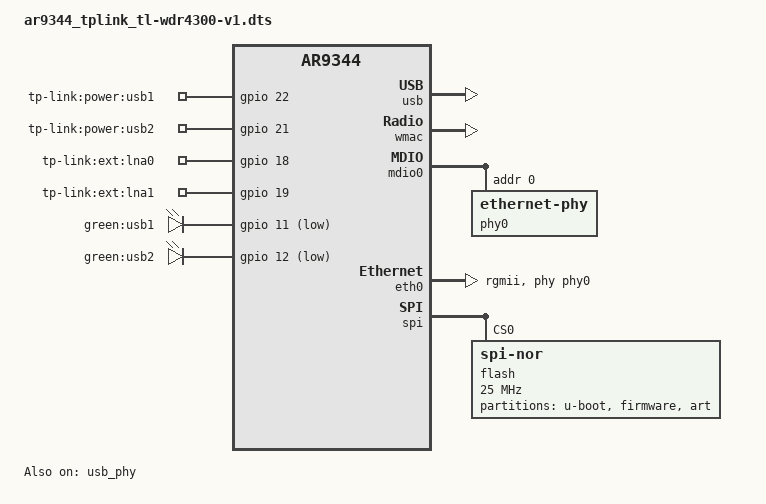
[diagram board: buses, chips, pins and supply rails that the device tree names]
// SPDX-License-Identifier: GPL-2.0-or-later OR MIT

#include "ar9344_tplink_tl-wdrxxxx.dtsi"

/ {
	aliases {
		label-mac-device = &ath9k;
	};

	gpio-export {
		compatible = "gpio-export";

		gpio_usb1_power {
			gpio-export,name = "tp-link:power:usb1";
			gpio-export,output = <1>;
			gpios = <&gpio 22 GPIO_ACTIVE_HIGH>;
		};

		gpio_usb2_power {
			gpio-export,name = "tp-link:power:usb2";
			gpio-export,output = <1>;
			gpios = <&gpio 21 GPIO_ACTIVE_HIGH>;
		};

		gpio_ext_lna0 {
			gpio-export,name = "tp-link:ext:lna0";
			gpio-export,output = <1>;
			gpios = <&gpio 18 GPIO_ACTIVE_HIGH>;
		};

		gpio_ext_lna1 {
			gpio-export,name = "tp-link:ext:lna1";
			gpio-export,output = <1>;
			gpios = <&gpio 19 GPIO_ACTIVE_HIGH>;
		};
	};
};

&leds {
	usb1 {
		label = "green:usb1";
		gpios = <&gpio 11 GPIO_ACTIVE_LOW>;
		trigger-sources = <&hub_port1>;
		linux,default-trigger = "usbport";
	};

	usb2 {
		label = "green:usb2";
		gpios = <&gpio 12 GPIO_ACTIVE_LOW>;
		trigger-sources = <&hub_port2>;
		linux,default-trigger = "usbport";
	};
};

&usb {
	#address-cells = <1>;
	#size-cells = <0>;
	status = "okay";

	port@1 {
		#address-cells = <1>;
		#size-cells = <0>;
		reg = <1>;
		#trigger-source-cells = <0>;

		hub_port1: port@1 {
			reg = <1>;
			#trigger-source-cells = <0>;
		};

		hub_port2: port@2 {
			reg = <2>;
			#trigger-source-cells = <0>;
		};
	};
};

&usb_phy {
	status = "okay";
};

&ath9k {
	nvmem-cells = <&macaddr_uboot_1fc00>;
	nvmem-cell-names = "mac-address";
};

&wmac {
	nvmem-cells = <&macaddr_uboot_1fc00>;
	nvmem-cell-names = "mac-address";
	mac-address-increment = <(-1)>;
};

&mdio0 {
	status = "okay";

	phy-mask = <0>;

	phy0: ethernet-phy@0 {
		reg = <0>;
		phy-mode = "rgmii";

		qca,ar8327-initvals = <
			0x04 0x07600000 /* PORT0 PAD MODE CTRL */
			0x10 0x80000080 /* POWER_ON_STRAP */
			0x50 0xc737c737 /* LED_CTRL0 */
			0x54 0x00000000 /* LED_CTRL1 */
			0x58 0x00000000 /* LED_CTRL2 */
			0x5c 0x0030c300 /* LED_CTRL3 */
			0x7c 0x0000007e /* PORT0_STATUS */
			>;
	};
};

&eth0 {
	status = "okay";

	/* default for ar934x, except for 1000M */
	pll-data = <0x06000000 0x00000101 0x00001616>;

	nvmem-cells = <&macaddr_uboot_1fc00>;
	nvmem-cell-names = "mac-address";

	phy-mode = "rgmii";
	phy-handle = <&phy0>;
};

&uboot {
	compatible = "nvmem-cells";
	#address-cells = <1>;
	#size-cells = <1>;

	macaddr_uboot_1fc00: macaddr@1fc00 {
		reg = <0x1fc00 0x6>;
	};
};

&spi {
        num-cs = <1>;

        status = "okay";

        flash@0 {
                compatible = "jedec,spi-nor";
                reg = <0>;
                spi-max-frequency = <25000000>;

                partitions {
                        compatible = "fixed-partitions";
                        #address-cells = <1>;
                        #size-cells = <1>;

                        uboot: partition@0 {
                                label = "u-boot";
                                reg = <0x000000 0x020000>;
                                read-only;
                        };

                        partition@20000 {
                                compatible = "tplink,firmware";
                                label = "firmware";
                                reg = <0x020000 0xfd0000>;
                        };
                        /delete-node/ partition@7f0000;
                        art: partition@ff0000 {
                                label = "art";
                                reg = <0xff0000 0x010000>;
                                read-only;
                        };
                };
        };
};
